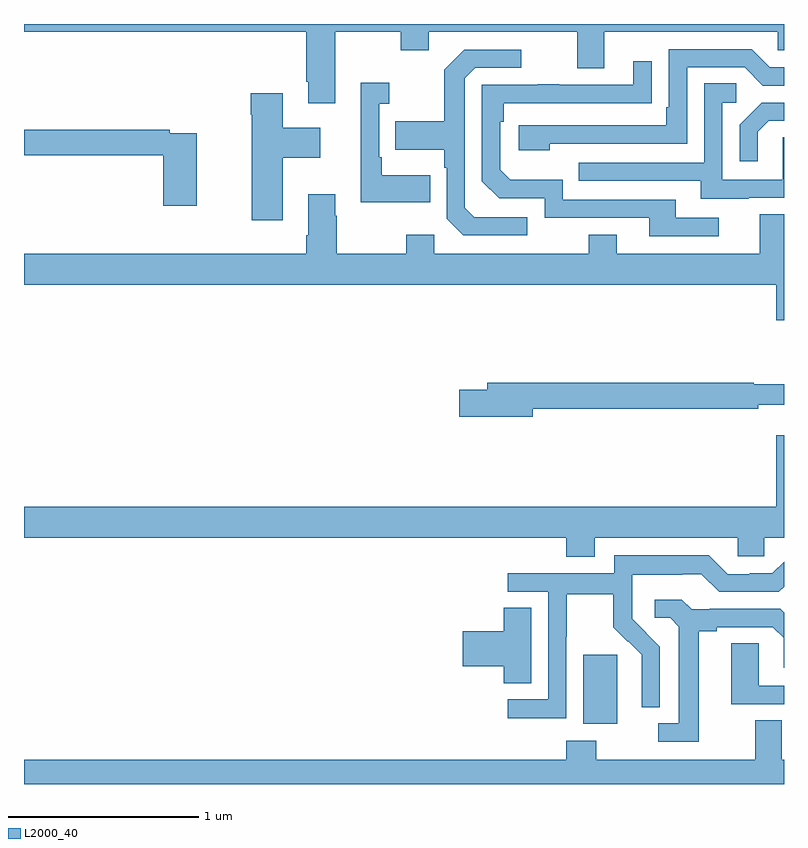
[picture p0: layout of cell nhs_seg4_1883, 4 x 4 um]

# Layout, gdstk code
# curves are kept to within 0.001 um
import gdstk
lib = gdstk.Library(unit=1e-6, precision=1e-09)
def R(c, l, rs):  # rectangles x0, y0, x1, y1
    for r in rs: c.add(gdstk.rectangle(r[:2], r[2:], *l))
def P(c, l, *ps):  # polygons
    for p in ps: c.add(gdstk.Polygon(p, *l))
L2000_40 = (2000, 40)

nhs_seg4_1883 = lib.new_cell('nhs_seg4_1883')
R(nhs_seg4_1883, L2000_40, [(211.943,753.218,212.122,753.579)])
P(nhs_seg4_1883, L2000_40, [(210.637,756.86),(210.982,756.86),(210.982,756.761),(211.129,756.761),(211.129,756.86),(211.913,756.86),(211.913,756.666),(212.053,756.666),(212.053,756.86),(212.967,756.86),(212.967,756.762),(213,756.762),(213,756.9),(209,756.9),(209,756.86),(210.485,756.86),(210.485,756.595),(210.497,756.595),(210.497,756.483),(210.637,756.483)],
  [(211.766,756.27),(212.49,756.27),(212.49,756.672),(212.793,756.672),(212.889,756.576),(213,756.576),(213,756.672),(212.925,756.672),(212.829,756.768),(212.394,756.768),(212.394,756.463),(212.381,756.463),(212.381,756.366),(211.605,756.366),(211.605,756.236),(211.766,756.236)],
  [(211.648,755.883),(211.371,755.883),(211.32,755.934),(211.32,756.615),(211.374,756.669),(211.618,756.669),(211.618,756.765),(211.317,756.765),(211.212,756.659),(211.212,756.387),(210.955,756.387),(210.955,756.239),(211.212,756.239),(211.212,756.143),(211.224,756.143),(211.224,755.874),(211.311,755.787),(211.648,755.787)],
  [(212.656,755.88),(212.431,755.88),(212.431,755.976),(211.836,755.976),(211.836,756.079),(211.559,756.079),(211.506,756.132),(211.506,756.386),(211.526,756.386),(211.526,756.483),(212.303,756.484),(212.303,756.703),(212.207,756.703),(212.207,756.579),(211.817,756.579),(211.817,756.584),(211.705,756.584),(211.705,756.579),(211.41,756.579),(211.41,756.072),(211.5,755.982),(211.74,755.982),(211.74,755.88),(212.291,755.88),(212.291,755.784),(212.656,755.784)],
  [(211.139,756.103),(210.883,756.103),(210.883,756.199),(210.87,756.199),(210.87,756.479),(210.922,756.479),(210.922,756.592),(210.773,756.592),(210.773,755.963),(211.139,755.963)],
  [(212.815,755.985),(213,755.985),(213,756.305),(212.994,756.305),(212.994,756.081),(212.676,756.081),(212.676,756.486),(212.749,756.486),(212.749,756.587),(212.58,756.587),(212.58,756.171),(211.921,756.171),(211.921,756.075),(212.561,756.075),(212.561,755.981),(212.815,755.981)],
  [(210.361,756.197),(210.559,756.197),(210.559,756.355),(210.361,756.355),(210.361,756.535),(210.194,756.535),(210.194,756.422),(210.199,756.422),(210.199,755.868),(210.361,755.868)],
  [(212.863,756.333),(212.92,756.39),(213,756.39),(213,756.486),(212.882,756.486),(212.766,756.37),(212.766,756.177),(212.863,756.177)],
  [(209.91,756.324),(209.768,756.324),(209.768,756.344),(209,756.344),(209,756.208),(209.732,756.208),(209.732,755.943),(209.91,755.943)],
  [(213,755.9),(212.873,755.9),(212.873,755.692),(212.119,755.692),(212.119,755.791),(211.972,755.791),(211.972,755.692),(211.158,755.692),(211.158,755.791),(211.012,755.791),(211.012,755.692),(210.645,755.692),(210.645,755.891),(210.637,755.891),(210.637,756.004),(210.497,756.004),(210.497,755.788),(210.485,755.788),(210.485,755.692),(209,755.692),(209,755.528),(212.96,755.528),(212.96,755.34),(213,755.34)],
  [(211.678,754.876),(212.864,754.876),(212.864,754.895),(213,754.895),(213,755.005),(212.842,755.005),(212.842,755.012),(211.439,755.012),(211.439,754.976),(211.29,754.976),(211.29,754.834),(211.678,754.834)],
  [(212.005,754.196),(212.757,754.196),(212.757,754.098),(212.895,754.098),(212.895,754.196),(213,754.196),(213,754.735),(212.96,754.735),(212.96,754.36),(209,754.36),(209,754.196),(211.853,754.196),(211.853,754.097),(212.005,754.097)],
  [(211.854,753.676),(211.857,753.676),(211.857,753.9),(212.101,753.9),(212.101,753.725),(212.178,753.648),(212.181,753.651),(212.252,753.581),(212.252,753.458),(212.25,753.458),(212.25,753.304),(212.346,753.304),(212.346,753.622),(212.2,753.77),(212.2,753.867),(212.202,753.867),(212.202,754.001),(212.465,754.001),(212.465,754.005),(212.565,754.005),(212.658,753.912),(212.973,753.912),(213,753.939),(213,754.071),(212.937,754.008),(212.819,754.008),(212.819,754.005),(212.703,754.005),(212.603,754.105),(212.106,754.105),(212.106,754.008),(211.545,754.008),(211.545,753.912),(211.758,753.912),(211.758,753.345),(211.545,753.345),(211.545,753.247),(211.854,753.247)],
  [(212.551,753.704),(212.647,753.704),(212.647,753.726),(212.942,753.726),(212.999,753.669),(213,753.513),(213,753.802),(212.98,753.822),(212.608,753.822),(212.608,753.819),(212.514,753.819),(212.462,753.871),(212.319,753.871),(212.319,753.774),(212.4,753.774),(212.447,753.727),(212.447,753.219),(212.337,753.219),(212.337,753.123),(212.551,753.123)],
  [(211.669,753.827),(211.526,753.827),(211.526,753.704),(211.308,753.704),(211.308,753.521),(211.526,753.521),(211.526,753.43),(211.669,753.43)],
  [(213,753.417),(212.868,753.417),(212.868,753.641),(212.723,753.641),(212.723,753.321),(213,753.321)],
  [(213,753.028),(212.989,753.028),(212.989,753.236),(212.849,753.236),(212.849,753.028),(212.013,753.028),(212.013,753.127),(211.853,753.127),(211.853,753.028),(209,753.028),(209,752.9),(213,752.9)])

lib.write_gds('nhs_seg4_1883.gds')
